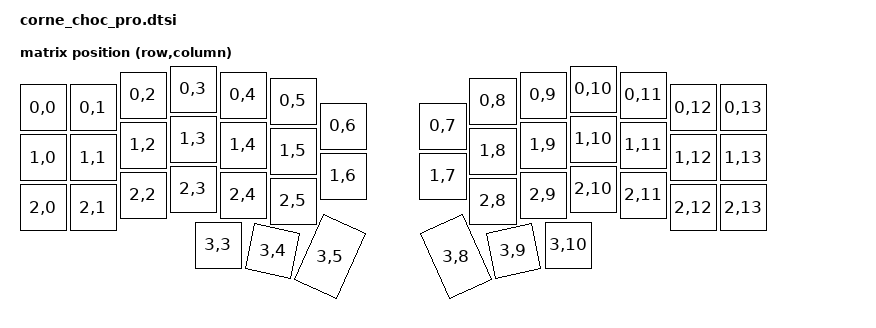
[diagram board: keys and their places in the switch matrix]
/*
 * Copyright (c) 2020 The ZMK Contributors
 *
 * SPDX-License-Identifier: MIT
 */

/dts-v1/;
#include <nordic/nrf52840_qiaa.dtsi>
#include <dt-bindings/zmk/matrix_transform.h>
#include <physical_layouts.dtsi>

/ {
	chosen {
		zephyr,code-partition = &code_partition;
		zephyr,sram = &sram0;
		zephyr,flash = &flash0;
		zmk,kscan = &kscan0;
	};

	default_transform: keymap_transform_0 {
		compatible = "zmk,matrix-transform";
		columns = <14>;
		rows = <4>;
		map = <
            RC(0,0) RC(0,1) RC(0,2) RC(0,3) RC(0,4) RC(0,5) RC(0,6) RC(0,7) RC(0,8) RC(0,9) RC(0,10) RC(0,11) RC(0,12) RC(0,13)
            RC(1,0) RC(1,1) RC(1,2) RC(1,3) RC(1,4) RC(1,5) RC(1,6) RC(1,7) RC(1,8) RC(1,9) RC(1,10) RC(1,11) RC(1,12) RC(1,13)
            RC(2,0) RC(2,1) RC(2,2) RC(2,3) RC(2,4) RC(2,5)                 RC(2,8) RC(2,9) RC(2,10) RC(2,11) RC(2,12) RC(2,13)
                                    RC(3,3) RC(3,4) RC(3,5)                 RC(3,8) RC(3,9) RC(3,10)
			>;
	};

    layout_0: layout_0 {
        compatible = "zmk,physical-layout";
        display-name = "Default";

        transform = <&default_transform>;

        keys  //                     w   h    x    y     rot    rx    ry
            = <&key_physical_attrs 100 100    0   37       0     0     0>
            , <&key_physical_attrs 100 100  100   37       0     0     0>
            , <&key_physical_attrs 100 100  200   12       0     0     0>
            , <&key_physical_attrs 100 100  300    0       0     0     0>
            , <&key_physical_attrs 100 100  400   12       0     0     0>
            , <&key_physical_attrs 100 100  500   24       0     0     0>
            , <&key_physical_attrs 100 100  600   74       0     0     0>
            , <&key_physical_attrs 100 100  800   74       0     0     0>
            , <&key_physical_attrs 100 100  900   24       0     0     0>
            , <&key_physical_attrs 100 100 1000   12       0     0     0>
            , <&key_physical_attrs 100 100 1100    0       0     0     0>
            , <&key_physical_attrs 100 100 1200   12       0     0     0>
            , <&key_physical_attrs 100 100 1300   37       0     0     0>
            , <&key_physical_attrs 100 100 1400   37       0     0     0>
            , <&key_physical_attrs 100 100    0  137       0     0     0>
            , <&key_physical_attrs 100 100  100  137       0     0     0>
            , <&key_physical_attrs 100 100  200  112       0     0     0>
            , <&key_physical_attrs 100 100  300  100       0     0     0>
            , <&key_physical_attrs 100 100  400  112       0     0     0>
            , <&key_physical_attrs 100 100  500  124       0     0     0>
            , <&key_physical_attrs 100 100  600  174       0     0     0>
            , <&key_physical_attrs 100 100  800  174       0     0     0>
            , <&key_physical_attrs 100 100  900  124       0     0     0>
            , <&key_physical_attrs 100 100 1000  112       0     0     0>
            , <&key_physical_attrs 100 100 1100  100       0     0     0>
            , <&key_physical_attrs 100 100 1200  112       0     0     0>
            , <&key_physical_attrs 100 100 1300  137       0     0     0>
            , <&key_physical_attrs 100 100 1400  137       0     0     0>
            , <&key_physical_attrs 100 100    0  237       0     0     0>
            , <&key_physical_attrs 100 100  100  237       0     0     0>
            , <&key_physical_attrs 100 100  200  212       0     0     0>
            , <&key_physical_attrs 100 100  300  200       0     0     0>
            , <&key_physical_attrs 100 100  400  212       0     0     0>
            , <&key_physical_attrs 100 100  500  224       0     0     0>
            , <&key_physical_attrs 100 100  900  224       0     0     0>
            , <&key_physical_attrs 100 100 1000  212       0     0     0>
            , <&key_physical_attrs 100 100 1100  200       0     0     0>
            , <&key_physical_attrs 100 100 1200  212       0     0     0>
            , <&key_physical_attrs 100 100 1300  237       0     0     0>
            , <&key_physical_attrs 100 100 1400  237       0     0     0>
            , <&key_physical_attrs 100 100  350  312       0     0     0>
            , <&key_physical_attrs 100 100  450  312    1200   450   412>
            , <&key_physical_attrs 100 150  548  283    2400   548   433>
            , <&key_physical_attrs 100 150  852  283 (-2400)   952   433>
            , <&key_physical_attrs 100 100  950  312 (-1200)  1050   412>
            , <&key_physical_attrs 100 100 1050  312       0     0     0>
            ;
    };
};

&gpio0 {
	status = "okay";
};

&gpio1 {
	status = "okay";
};

zephyr_udc0: &usbd {
    status = "okay";
};

&flash0 {
	/*
	 * For more information, see:
	 * http://docs.zephyrproject.org/latest/devices/dts/flash_partitions.html
	 */
	partitions {
		compatible = "fixed-partitions";
		#address-cells = <1>;
		#size-cells = <1>;

		sd_partition: partition@0 {
			label = "softdevice";
			reg = <0x00000000 0x00026000>;
		};
		code_partition: partition@26000 {
			label = "code_partition";
			reg = <0x00026000 0x000c6000>;
		};
		storage_partition: partition@ec000 {
			label = "storage";
			reg = <0x000ec000 0x00008000>;
		};
		boot_partition: partition@f4000 {
			label = "adafruit_boot";
			reg = <0x000f4000 0x0000c000>;
		};
	};
};
